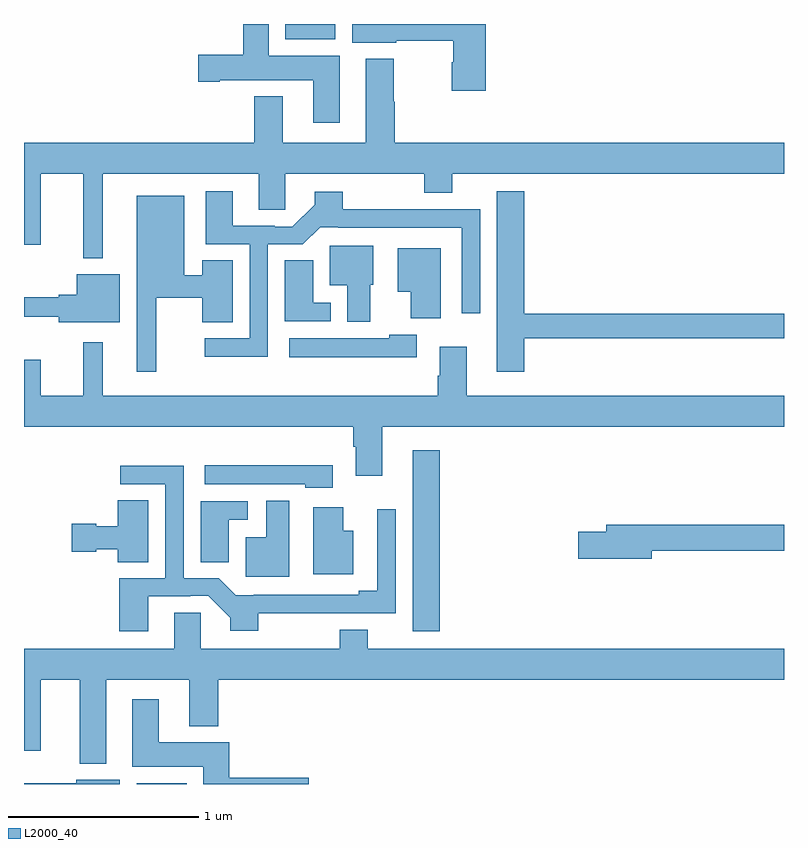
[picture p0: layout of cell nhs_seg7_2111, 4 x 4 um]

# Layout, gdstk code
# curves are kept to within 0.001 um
import gdstk
lib = gdstk.Library(unit=1e-6, precision=1e-09)
def R(c, l, rs):  # rectangles x0, y0, x1, y1
    for r in rs: c.add(gdstk.rectangle(r[:2], r[2:], *l))
def P(c, l, *ps):  # polygons
    for p in ps: c.add(gdstk.Polygon(p, *l))
L2000_40 = (2000, 40)

nhs_seg7_2111 = lib.new_cell('nhs_seg7_2111')
R(nhs_seg7_2111, L2000_40, [(249.593,1068,249.856,1068.004), (251.045,1068.804,251.189,1069.756), (250.376,1071.92,250.639,1072)])
P(nhs_seg7_2111, L2000_40, [(250.663,1071.832),(250.288,1071.832),(250.288,1072),(250.154,1072),(250.154,1071.839),(249.918,1071.839),(249.918,1071.697),(250.03,1071.697),(250.03,1071.704),(250.523,1071.704),(250.523,1071.48),(250.663,1071.48)],
  [(251.429,1072),(250.727,1072),(250.727,1071.902),(250.96,1071.902),(250.96,1071.913),(251.258,1071.913),(251.258,1071.798),(251.251,1071.798),(251.251,1071.648),(251.429,1071.648)],
  [(250.235,1071.022),(250.374,1071.022),(250.374,1071.212),(251.107,1071.212),(251.107,1071.113),(251.254,1071.113),(251.254,1071.212),(253,1071.212),(253,1071.376),(250.952,1071.376),(250.952,1071.591),(250.947,1071.591),(250.947,1071.817),(250.799,1071.817),(250.799,1071.376),(250.363,1071.376),(250.363,1071.619),(250.211,1071.619),(250.211,1071.376),(249,1071.376),(249,1070.838),(249.088,1070.838),(249.088,1071.212),(249.311,1071.212),(249.311,1070.768),(249.415,1070.768),(249.415,1071.212),(250.235,1071.212)],
  [(251.633,1070.346),(253,1070.346),(253,1070.474),(251.633,1070.474),(251.633,1071.121),(251.489,1071.121),(251.489,1070.169),(251.633,1070.169)],
  [(250.284,1070.841),(250.468,1070.841),(250.558,1070.931),(250.654,1070.931),(250.654,1070.928),(251.304,1070.928),(251.304,1070.478),(251.4,1070.478),(251.4,1071.024),(251.018,1071.024),(251.018,1071.026),(250.677,1071.026),(250.677,1071.118),(250.529,1071.118),(250.529,1071.05),(250.413,1070.934),(250.319,1070.934),(250.319,1070.937),(250.099,1070.937),(250.099,1071.121),(249.956,1071.121),(249.956,1070.841),(250.188,1070.841),(250.188,1070.346),(249.951,1070.346),(249.951,1070.249),(250.284,1070.249)],
  [(249.697,1070.56),(249.938,1070.56),(249.938,1070.431),(250.099,1070.431),(250.099,1070.756),(249.938,1070.756),(249.938,1070.677),(249.844,1070.677),(249.844,1071.097),(249.593,1071.097),(249.593,1070.169),(249.697,1070.169)],
  [(250.822,1070.628),(250.837,1070.628),(250.837,1070.833),(250.61,1070.833),(250.61,1070.624),(250.7,1070.624),(250.7,1070.432),(250.822,1070.432)],
  [(251.194,1070.821),(250.967,1070.821),(250.967,1070.591),(251.036,1070.591),(251.036,1070.451),(251.194,1070.451)],
  [(250.615,1070.532),(250.522,1070.532),(250.522,1070.756),(250.373,1070.756),(250.373,1070.436),(250.615,1070.436)],
  [(249.505,1070.683),(249.278,1070.683),(249.278,1070.576),(249.182,1070.576),(249.182,1070.561),(249,1070.561),(249,1070.458),(249.182,1070.458),(249.182,1070.429),(249.505,1070.429)],
  [(251.068,1070.365),(250.923,1070.365),(250.923,1070.347),(250.395,1070.347),(250.395,1070.246),(251.068,1070.246)],
  [(250.885,1069.88),(253,1069.88),(253,1070.044),(251.329,1070.044),(251.329,1070.302),(251.189,1070.302),(251.189,1070.15),(251.177,1070.15),(251.177,1070.044),(249.415,1070.044),(249.415,1070.326),(249.311,1070.326),(249.311,1070.044),(249.088,1070.044),(249.088,1070.233),(249,1070.233),(249,1069.88),(250.733,1069.88),(250.733,1069.774),(250.745,1069.774),(250.745,1069.623),(250.885,1069.623)],
  [(250.624,1069.678),(249.951,1069.678),(249.951,1069.577),(250.479,1069.577),(250.479,1069.559),(250.624,1069.559)],
  [(249.655,1068.987),(249.875,1068.987),(249.875,1068.99),(249.969,1068.99),(250.085,1068.874),(250.085,1068.806),(250.233,1068.806),(250.233,1068.899),(250.956,1068.9),(250.956,1069.447),(250.86,1069.447),(250.86,1069.016),(250.763,1069.016),(250.763,1068.996),(250.21,1068.996),(250.21,1068.993),(250.114,1068.993),(250.024,1069.083),(249.84,1069.083),(249.84,1069.676),(249.507,1069.676),(249.507,1069.578),(249.744,1069.578),(249.744,1069.083),(249.5,1069.083),(249.5,1068.804),(249.655,1068.804)],
  [(249.655,1069.493),(249.494,1069.493),(249.494,1069.357),(249.381,1069.357),(249.381,1069.37),(249.252,1069.37),(249.252,1069.223),(249.381,1069.223),(249.381,1069.235),(249.494,1069.235),(249.494,1069.168),(249.655,1069.168)],
  [(250.396,1069.492),(250.274,1069.492),(250.274,1069.3),(250.166,1069.3),(250.166,1069.091),(250.396,1069.091)],
  [(250.078,1069.392),(250.177,1069.392),(250.177,1069.488),(249.929,1069.488),(249.929,1069.168),(250.078,1069.168)],
  [(250.732,1069.333),(250.681,1069.333),(250.681,1069.456),(250.523,1069.456),(250.523,1069.103),(250.732,1069.103)],
  [(252.304,1069.228),(253,1069.228),(253,1069.364),(252.065,1069.364),(252.065,1069.328),(251.916,1069.328),(251.916,1069.186),(252.304,1069.186)],
  [(249.433,1068.548),(249.869,1068.548),(249.869,1068.305),(250.022,1068.305),(250.022,1068.548),(253,1068.548),(253,1068.712),(250.81,1068.712),(250.81,1068.811),(250.663,1068.811),(250.663,1068.712),(249.93,1068.712),(249.93,1068.902),(249.791,1068.902),(249.791,1068.712),(249,1068.712),(249,1068.174),(249.088,1068.174),(249.088,1068.548),(249.293,1068.548),(249.293,1068.107),(249.433,1068.107)],
  [(250.498,1068.032),(250.079,1068.032),(250.079,1068.22),(249.709,1068.22),(249.709,1068.445),(249.569,1068.445),(249.569,1068.092),(249.944,1068.092),(249.944,1068),(250.498,1068)],
  [(249.505,1068.022),(249.276,1068.022),(249.276,1068.004),(249,1068.004),(249,1068),(249.505,1068)])

lib.write_gds('nhs_seg7_2111.gds')
